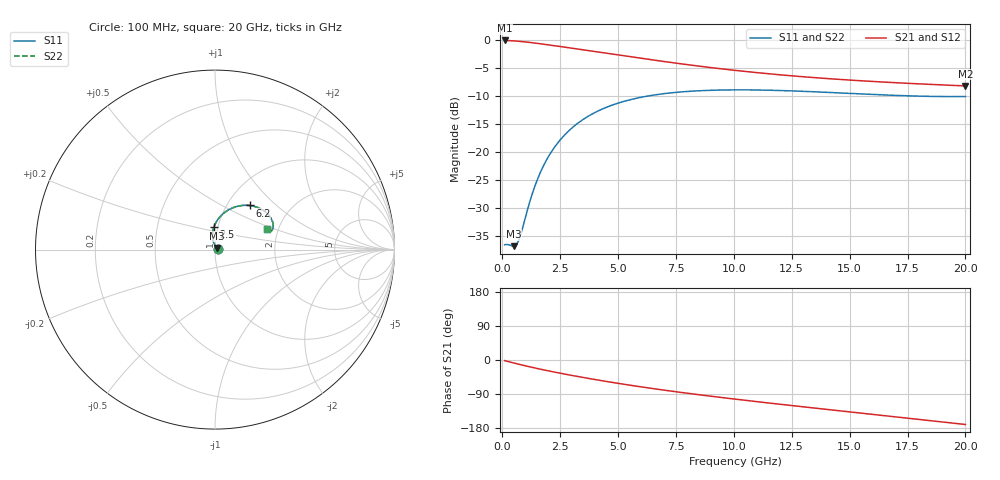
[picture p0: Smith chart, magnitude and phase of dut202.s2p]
! Touchstone file exported from HFSS 2024.1.0
!  File:  C:/UserFiles/LocalFiles/RDL_TSV_Batchsim/temp_RDL_TSV_202_1779444225.aedt
!  Generated:  06:14:00 PM May 22, 2026
!  Design:  RDL_TSV
!  Project:  temp_RDL_TSV_202_1779444225
!  Setup:  Setup1
!  Solution:  Sweep
! Variables:
!  dtsv = 14.93um
!  hbump = 3um
!  htsv = 51.15um
!  ldown = 471.13um
!  lrdl = 265.46um
!  p = 40
!  p1 = 52.36um
!  rhole = 10um
!  subl = 2475.23um
!  t = 450um
!  tdown = 3.73um
!  trdl = 3.71um
!  viad = 10um
!  wdown = 14.77um
!  wrdl = 18.12um
!  xbump = 18um
# GHz S MA R 50.000000
! Terminal data exported
! Port[1] = TM1_1_T1
! Port[2] = TM1_4_T1
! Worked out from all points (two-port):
!   200 points, 100 MHz to 20 GHz, reference 50 ohm
!   highest |S21| = -0.13 dB at 100 MHz (marker M1); lowest = -8.2 dB at 20 GHz (marker M2)
!   |S21| within 3 dB of the highest: start of sweep to 5.7 GHz
!   lowest |S11| = -36.8 dB at 500 MHz (marker M3), VSWR 1.03, Z = 51.1 + j0.961 ohm
!   |S11| at or under -10 dB: start of sweep to 6.343 GHz; 17.48 GHz to end of sweep
!   |S22| runs from -36.8 to -8.9 dB; largest |S21 - S12| = 2.4e-14
!   S11 on the Smith chart (normalised r, x): 100 MHz: 1.03, +0.00; 2.5 GHz: 0.96, +0.25; 6.2 GHz: 1.27, +0.69; 20 GHz: 1.74, +0.44
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0.1  0.01488 7.5  0.9847 -1.6  0.9847 -1.6  0.01489 7.5
! Gamma 0 0 0 0
! Port Impedance 50 0 50 0
0.5  0.01445 40.6  0.9757 -7.9  0.9757 -7.9  0.01445 40.6
0.6  0.01482 52.8  0.9723 -9.5  0.9723 -9.5  0.01483 52.8
0.7  0.0161 65.6  0.9685 -11.0  0.9685 -11.0  0.01609 65.5
0.8  0.01845 76.9  0.9644 -12.5  0.9644 -12.5  0.01845 76.9
1.1  0.03112 96.5  0.9501 -16.8  0.9501 -16.8  0.0311 96.4
1.3  0.04267 100.8  0.9394 -19.6  0.9394 -19.6  0.04264 100.8
1.6  0.06251 101.7  0.9225 -23.7  0.9225 -23.7  0.06246 101.6
2  0.09126 98.5  0.8991 -28.8  0.8991 -28.8  0.09118 98.5
2.5  0.1278 92.3  0.8697 -34.9  0.8697 -34.9  0.1277 92.3
3  0.1629 85.7  0.8408 -40.7  0.8408 -40.7  0.1628 85.7
3.5  0.1952 79.3  0.8125 -46.2  0.8125 -46.2  0.1951 79.3
4.1  0.2297 72.1  0.7794 -52.6  0.7794 -52.6  0.2296 72.1
4.7  0.2592 65.6  0.7474 -58.7  0.7474 -58.7  0.259 65.5
6.2  0.3125 51.9  0.6736 -72.8  0.6736 -72.8  0.3124 51.8
6.8  0.3268 47.3  0.6469 -78.0  0.6469 -78.0  0.3268 47.3
8.4  0.3499 37.3  0.5845 -91.0  0.5845 -91.0  0.35 37.2
10.1  0.3572 29.4  0.5317 -103.6  0.5317 -103.6  0.3574 29.3
11.7  0.3538 24.1  0.4927 -114.8  0.4927 -114.8  0.3542 24.0
13.4  0.344 20.3  0.4604 -126.3  0.4604 -126.3  0.3444 20.2
16.7  0.3205 18.3  0.4166 -148.1  0.4166 -148.1  0.3211 18.1
20  0.3115 21.7  0.3874 -170.2  0.3874 -170.2  0.312 21.3
